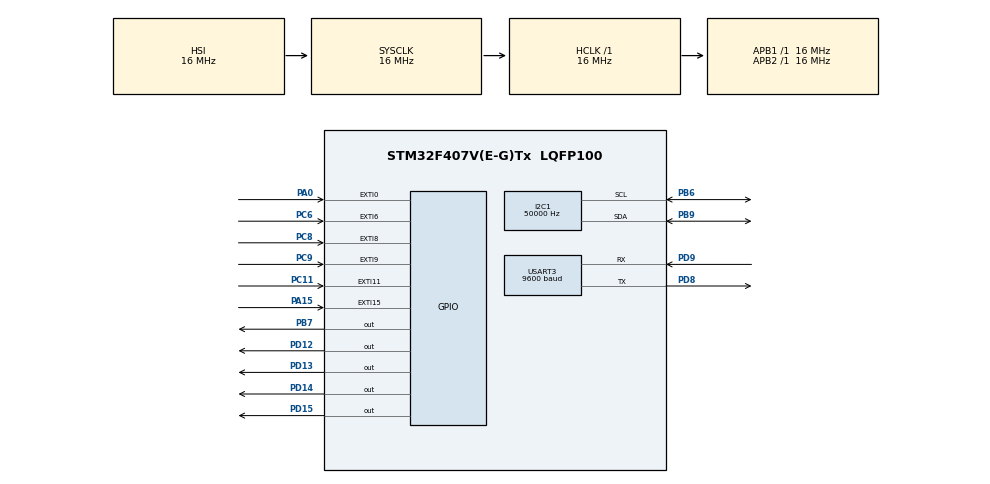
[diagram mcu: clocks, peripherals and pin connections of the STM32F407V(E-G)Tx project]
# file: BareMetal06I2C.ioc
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I2C1.ClockSpeed=50000
Mcu.Family=STM32F4
Mcu.Name=STM32F407V(E-G)Tx
Mcu.Package=LQFP100
NVIC.EXTI0_IRQn=true\:0\:0\:false\:false\:true\:true\:true\:true
NVIC.EXTI15_10_IRQn=true\:0\:0\:false\:false\:true\:true\:true\:true
NVIC.EXTI9_5_IRQn=true\:0\:0\:false\:false\:true\:true\:true\:true
NVIC.PriorityGroup=NVIC_PRIORITYGROUP_4
NVIC.USART3_IRQn=true\:0\:0\:false\:false\:true\:true\:true\:true
PA0-WKUP.GPIO_PuPd=GPIO_NOPULL
PA0-WKUP.Signal=GPXTI0
PA13.Mode=Serial_Wire
PA13.Signal=SYS_JTMS-SWDIO
PA14.Mode=Serial_Wire
PA14.Signal=SYS_JTCK-SWCLK
PA15.GPIO_PuPd=GPIO_NOPULL
PA15.Signal=GPXTI15
PB6.Mode=I2C
PB6.Signal=I2C1_SCL
PB7.Signal=GPIO_Output
PB9.Mode=I2C
PB9.Signal=I2C1_SDA
PC11.GPIO_PuPd=GPIO_NOPULL
PC11.Signal=GPXTI11
PC6.GPIO_PuPd=GPIO_NOPULL
PC6.Signal=GPXTI6
PC8.GPIO_PuPd=GPIO_NOPULL
PC8.Signal=GPXTI8
PC9.GPIO_PuPd=GPIO_NOPULL
PC9.Signal=GPXTI9
PD12.GPIO_PuPd=GPIO_NOPULL
PD12.Signal=GPIO_Output
PD13.GPIO_PuPd=GPIO_NOPULL
PD13.Signal=GPIO_Output
PD14.GPIO_PuPd=GPIO_NOPULL
PD14.Signal=GPIO_Output
PD15.GPIO_PuPd=GPIO_NOPULL
PD15.Signal=GPIO_Output
PD8.Mode=Asynchronous
PD8.Signal=USART3_TX
PD9.Mode=Asynchronous
PD9.Signal=USART3_RX
ProjectManager.HeapSize=0x200
ProjectManager.StackSize=0x400
ProjectManager.TargetToolchain=STM32CubeIDE
RCC.AHBFreq_Value=16000000
RCC.APB1Freq_Value=16000000
RCC.APB2Freq_Value=16000000
RCC.CortexFreq_Value=16000000
RCC.HSE_VALUE=25000000
RCC.HSI_VALUE=16000000
RCC.LSE_VALUE=32768
RCC.SYSCLKFreq_VALUE=16000000
RCC.VCOOutputFreq_Value=192000000
USART3.BaudRate=9600
USART3.VirtualMode=VM_ASYNC
board=custom

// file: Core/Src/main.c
/* USER CODE BEGIN Header */
/**
  ******************************************************************************
  * @file           : main.c
  * @brief          : Main program body
  ******************************************************************************
  * @attention
  *
  * Copyright (c) 2026 STMicroelectronics.
  * All rights reserved.
  *
  * This software is licensed under terms that can be found in the LICENSE file
  * in the root directory of this software component.
  * If no LICENSE file comes with this software, it is provided AS-IS.
  *
  ******************************************************************************
  */
/* USER CODE END Header */
#include "main.h"

/* USER CODE BEGIN Includes */

#include "pca9685.h"
#include <string.h>
#include <stdio.h>

/* USER CODE END Includes */

I2C_HandleTypeDef hi2c1;

UART_HandleTypeDef huart3;

/* USER CODE BEGIN PV */

uint8_t rx_byte;

/* USER CODE END PV */

void SystemClock_Config(void);
static void MX_GPIO_Init(void);
static void MX_USART3_UART_Init(void);
static void MX_I2C1_Init(void);

/* USER CODE BEGIN 0 */

volatile uint8_t key_pressed = 0;

uint8_t led_duty[16] = {0}; // 1 value for each LED

uint8_t selected_led = 255; // the actual LED number for each LED, 255 for ALL

float current_frequency = 1000.0f;

uint8_t duty_step = 10;
float freq_step = 100.0f;

void UART_Print(char* message); // just declared, because I wanna keep the definitions organised and lower
// but it gets called in the while loop, so it needs to be 'known' earlier

/* USER CODE END 0 */

int main(void)
{

  /* MCU Configuration--------------------------------------------------------*/

  /* Reset of all peripherals, Initializes the Flash interface and the Systick. */
  HAL_Init();

  /* Configure the system clock */
  SystemClock_Config();

  /* Initialize all configured peripherals */
  MX_GPIO_Init();
  MX_USART3_UART_Init();
  MX_I2C1_Init();
  /* USER CODE BEGIN 2 */

  HAL_UART_Receive_IT(&huart3, &rx_byte, 1);

  PCA9685_Init(&hi2c1);

  /* USER CODE END 2 */

  /* Infinite loop */
  /* USER CODE BEGIN WHILE */
  while (1)
  {
	  if (key_pressed == 0) continue;

	  char cmd = key_pressed;
	  key_pressed = 0;

	  char msg_buffer[64];

	  // only looking for LED0-7 is entirely arbitrary. I didn't wanna use Hex for selections, so I needed to cut it off somewhere to not have to code 2-character selections. Cutting it at half just made sense
	  if (cmd >= '0' && cmd <= '7') {
		  selected_led = cmd - '0';
		  sprintf(msg_buffer, "\r\n[SELECT] LED %d selected.\r\n", selected_led);
		  UART_Print(msg_buffer);

	  } else if (cmd == ' ') { // ALL LEDs
          selected_led = 255;
          UART_Print("\r\n[SELECT] ALL LEDs selected.\r\n");

      } else if (cmd == '+' || cmd == '=') { // Increase Duty. '+' in case ALT or Shift is also pressed down
          if (selected_led == 255) {
              for(uint8_t i = 0; i < 16; i++) {
                  if (led_duty[i] <= (100 - duty_step)) led_duty[i] += duty_step;
                  else led_duty[i] = 100; // Cap at 100%
                  PCA9685_SetDutyCycle(i, led_duty[i]);
              }
              UART_Print("\r\n[DUTY] ALL LEDs increased.\r\n");

          } else {
              // Just the selected LED
              if (led_duty[selected_led] <= (100 - duty_step)) led_duty[selected_led] += duty_step;
              else led_duty[selected_led] = 100;
              PCA9685_SetDutyCycle(selected_led, led_duty[selected_led]);

              sprintf(msg_buffer, "\r\n[DUTY] LED %d is now %d%%\r\n", selected_led, led_duty[selected_led]);
              UART_Print(msg_buffer);
          }

      } else if (cmd == '-' || cmd == '_') { // Decrease Duty. '_' same as '+' above
          if (selected_led == 255) {
              for(uint8_t i = 0; i < 16; i++) {
                  if (led_duty[i] >= duty_step) led_duty[i] -= duty_step;
                  else led_duty[i] = 0; // Floor at 0%
                  PCA9685_SetDutyCycle(i, led_duty[i]);
              }
              UART_Print("\r\n[DUTY] ALL LEDs decreased.\r\n");
          } else {
              if (led_duty[selected_led] >= duty_step) led_duty[selected_led] -= duty_step;
              else led_duty[selected_led] = 0;
              PCA9685_SetDutyCycle(selected_led, led_duty[selected_led]);

              sprintf(msg_buffer, "\r\n[DUTY] LED %d is now %d%%\r\n", selected_led, led_duty[selected_led]);
              UART_Print(msg_buffer);
          }

      } else if (cmd == 'e' || cmd == 'E') { // Enable all
          PCA9685_EnableOutputs(1);
          UART_Print("\r\n[PWR] Outputs ENABLED.\r\n");

      } else if (cmd == 'd' || cmd == 'D') { // Disable all
          PCA9685_EnableOutputs(0);
          UART_Print("\r\n[PWR] Outputs DISABLED.\r\n");

      } else if (cmd == 'f' || cmd == 'F') { // Frequency increase
          current_frequency += freq_step;
          if (current_frequency > 1500.0f) current_frequency = 1500.0f; // Cap at what seems to be hardware max
          PCA9685_SetFrequency(current_frequency);
          sprintf(msg_buffer, "\r\n[FREQ] Increased to %d Hz.\r\n", (int)current_frequency);
          UART_Print(msg_buffer);

      } else if (cmd == 'g' || cmd == 'G') { // Frequency decrease
          current_frequency -= freq_step;
          if (current_frequency < 24.0f) current_frequency = 24.0f; // Cap at hardware min
          PCA9685_SetFrequency(current_frequency);
          sprintf(msg_buffer, "\r\n[FREQ] Decreased to %d Hz.\r\n", (int)current_frequency);
          UART_Print(msg_buffer);
      }

	  // this is kind of like a Command Queue pattern, just without the queue part

    /* USER CODE END WHILE */

  }
}

void SystemClock_Config(void)
{
  RCC_OscInitTypeDef RCC_OscInitStruct = {0};
  RCC_ClkInitTypeDef RCC_ClkInitStruct = {0};

  /** Configure the main internal regulator output voltage
  */
  __HAL_RCC_PWR_CLK_ENABLE();
  __HAL_PWR_VOLTAGESCALING_CONFIG(PWR_REGULATOR_VOLTAGE_SCALE1);

  /** Initializes the RCC Oscillators according to the specified parameters
  * in the RCC_OscInitTypeDef structure.
  */
  RCC_OscInitStruct.OscillatorType = RCC_OSCILLATORTYPE_HSI;
  RCC_OscInitStruct.HSIState = RCC_HSI_ON;
  RCC_OscInitStruct.HSICalibrationValue = RCC_HSICALIBRATION_DEFAULT;
  RCC_OscInitStruct.PLL.PLLState = RCC_PLL_NONE;
  if (HAL_RCC_OscConfig(&RCC_OscInitStruct) != HAL_OK)
  {
    Error_Handler();
  }

  /** Initializes the CPU, AHB and APB buses clocks
  */
  RCC_ClkInitStruct.ClockType = RCC_CLOCKTYPE_HCLK|RCC_CLOCKTYPE_SYSCLK
                              |RCC_CLOCKTYPE_PCLK1|RCC_CLOCKTYPE_PCLK2;
  RCC_ClkInitStruct.SYSCLKSource = RCC_SYSCLKSOURCE_HSI;
  RCC_ClkInitStruct.AHBCLKDivider = RCC_SYSCLK_DIV1;
  RCC_ClkInitStruct.APB1CLKDivider = RCC_HCLK_DIV1;
  RCC_ClkInitStruct.APB2CLKDivider = RCC_HCLK_DIV1;

  if (HAL_RCC_ClockConfig(&RCC_ClkInitStruct, FLASH_LATENCY_0) != HAL_OK)
  {
    Error_Handler();
  }
}

static void MX_I2C1_Init(void)
{

  hi2c1.Instance = I2C1;
  hi2c1.Init.ClockSpeed = 50000;
  hi2c1.Init.DutyCycle = I2C_DUTYCYCLE_2;
  hi2c1.Init.OwnAddress1 = 0;
  hi2c1.Init.AddressingMode = I2C_ADDRESSINGMODE_7BIT;
  hi2c1.Init.DualAddressMode = I2C_DUALADDRESS_DISABLE;
  hi2c1.Init.OwnAddress2 = 0;
  hi2c1.Init.GeneralCallMode = I2C_GENERALCALL_DISABLE;
  hi2c1.Init.NoStretchMode = I2C_NOSTRETCH_DISABLE;
  if (HAL_I2C_Init(&hi2c1) != HAL_OK)
  {
    Error_Handler();
  }

}

static void MX_USART3_UART_Init(void)
{

  huart3.Instance = USART3;
  huart3.Init.BaudRate = 9600;
  huart3.Init.WordLength = UART_WORDLENGTH_8B;
  huart3.Init.StopBits = UART_STOPBITS_1;
  huart3.Init.Parity = UART_PARITY_NONE;
  huart3.Init.Mode = UART_MODE_TX_RX;
  huart3.Init.HwFlowCtl = UART_HWCONTROL_NONE;
  huart3.Init.OverSampling = UART_OVERSAMPLING_16;
  if (HAL_UART_Init(&huart3) != HAL_OK)
  {
    Error_Handler();
  }

}

static void MX_GPIO_Init(void)
{
  GPIO_InitTypeDef GPIO_InitStruct = {0};

  /* GPIO Ports Clock Enable */
  __HAL_RCC_GPIOA_CLK_ENABLE();
  __HAL_RCC_GPIOD_CLK_ENABLE();
  __HAL_RCC_GPIOC_CLK_ENABLE();
  __HAL_RCC_GPIOB_CLK_ENABLE();

  /*Configure GPIO pin Output Level */
  HAL_GPIO_WritePin(GPIOD, GPIO_PIN_12|GPIO_PIN_13|GPIO_PIN_14|GPIO_PIN_15, GPIO_PIN_RESET);

  /*Configure GPIO pin Output Level */
  HAL_GPIO_WritePin(GPIOB, GPIO_PIN_7, GPIO_PIN_RESET);

  /*Configure GPIO pins : PA0 PA15 */
  GPIO_InitStruct.Pin = GPIO_PIN_0|GPIO_PIN_15;
  GPIO_InitStruct.Mode = GPIO_MODE_IT_RISING;
  GPIO_InitStruct.Pull = GPIO_NOPULL;
  HAL_GPIO_Init(GPIOA, &GPIO_InitStruct);

  /*Configure GPIO pins : PD12 PD13 PD14 PD15 */
  GPIO_InitStruct.Pin = GPIO_PIN_12|GPIO_PIN_13|GPIO_PIN_14|GPIO_PIN_15;
  GPIO_InitStruct.Mode = GPIO_MODE_OUTPUT_PP;
  GPIO_InitStruct.Pull = GPIO_NOPULL;
  GPIO_InitStruct.Speed = GPIO_SPEED_FREQ_LOW;
  HAL_GPIO_Init(GPIOD, &GPIO_InitStruct);

  /*Configure GPIO pins : PC6 PC8 PC9 PC11 */
  GPIO_InitStruct.Pin = GPIO_PIN_6|GPIO_PIN_8|GPIO_PIN_9|GPIO_PIN_11;
  GPIO_InitStruct.Mode = GPIO_MODE_IT_RISING;
  GPIO_InitStruct.Pull = GPIO_NOPULL;
  HAL_GPIO_Init(GPIOC, &GPIO_InitStruct);

  /*Configure GPIO pin : PB7 */
  GPIO_InitStruct.Pin = GPIO_PIN_7;
  GPIO_InitStruct.Mode = GPIO_MODE_OUTPUT_PP;
  GPIO_InitStruct.Pull = GPIO_NOPULL;
  GPIO_InitStruct.Speed = GPIO_SPEED_FREQ_LOW;
  HAL_GPIO_Init(GPIOB, &GPIO_InitStruct);

  /* EXTI interrupt init*/
  HAL_NVIC_SetPriority(EXTI0_IRQn, 0, 0);
  HAL_NVIC_EnableIRQ(EXTI0_IRQn);

  HAL_NVIC_SetPriority(EXTI9_5_IRQn, 0, 0);
  HAL_NVIC_EnableIRQ(EXTI9_5_IRQn);

  HAL_NVIC_SetPriority(EXTI15_10_IRQn, 0, 0);
  HAL_NVIC_EnableIRQ(EXTI15_10_IRQn);

}

/* USER CODE BEGIN 4 */

// effectively just copied over from the UART assignment
void UART_Print(char* message) {
    HAL_UART_Transmit(&huart3, (uint8_t*)message, strlen(message), HAL_MAX_DELAY);
}

void HAL_UART_RxCpltCallback(UART_HandleTypeDef *huart) {
    if (huart->Instance == USART3) {
    	key_pressed = rx_byte;
        HAL_UART_Receive_IT(&huart3, &rx_byte, 1);
    }
}

/* USER CODE END 4 */

void Error_Handler(void)
{
  __disable_irq();
  while (1)
  {
  }
}
